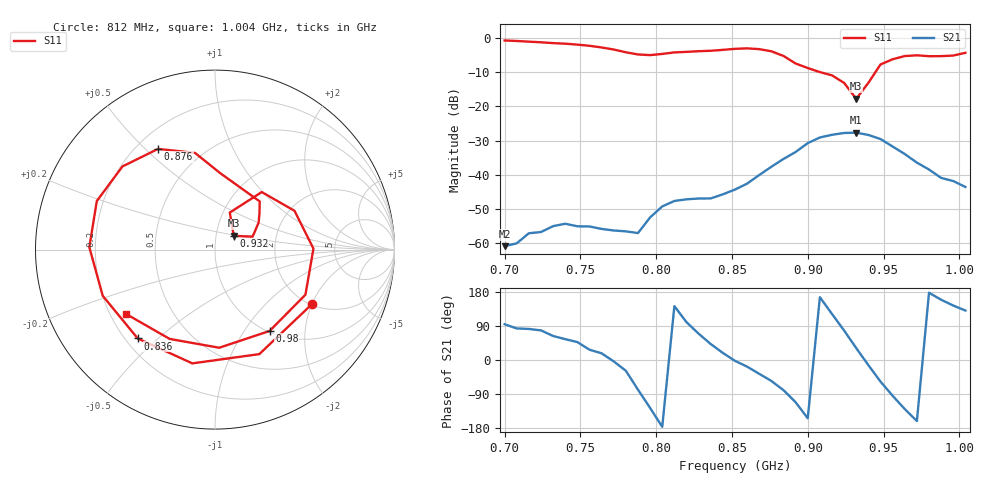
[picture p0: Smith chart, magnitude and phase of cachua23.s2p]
# Hz S RI R 50
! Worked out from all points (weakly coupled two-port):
!   39 points, 700 MHz to 1.004 GHz, reference 50 ohm
!   highest |S21| = -27.68 dB at 932 MHz (marker M1); lowest = -61.0 dB at 700 MHz (marker M2)
!   lowest |S11| = -17.8 dB at 932 MHz (marker M3), VSWR 1.30, Z = 60.8 + j9.49 ohm
!   |S11| at or under -10 dB: 908.7 MHz to 944.6 MHz (35.81 MHz wide, 3.86 % of centre)
!   S12 and S22 are empty: the file has one direction only
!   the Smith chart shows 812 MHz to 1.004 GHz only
!   S11 on the Smith chart (normalised r, x): 812 MHz: 2.04, -2.01; 836 MHz: 0.25, -0.43; 876 MHz: 0.29, +0.55; 932 MHz: 1.22, +0.19; 980 MHz: 1.02, -1.31; 1.004 GHz: 0.26, -0.30
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7e8  0.7672 0.5245  -6.76e-05 0.000891  0 0  0 0
7.24e8  0.8338 -0.2603  0.000296 0.00141  0 0  0 0
7.4e8  0.4454 -0.7042  0.00109 0.00156  0 0  0 0
7.56e8  -0.1976 -0.7509  0.00155 0.000794  0 0  0 0
7.72e8  -0.6578 -0.188  0.00151 -9.87e-05  0 0  0 0
7.8e8  -0.5788 0.232  0.0013 -0.000701  0 0  0 0
7.88e8  -0.2268 0.5328  0.000282 -0.00136  0 0  0 0
7.96e8  0.2606 0.5032  -0.00141 -0.00189  0 0  0 0
8.04e8  0.5712 0.1459  -0.00342 -0.000217  0 0  0 0
8.12e8  0.5415 -0.3026  -0.00325 0.00252  0 0  0 0
8.2e8  0.2471 -0.5823  -0.00074 0.00429  0 0  0 0
8.36e8  -0.4304 -0.4952  0.00333 0.00301  0 0  0 0
8.52e8  -0.7002 0.0135  0.00604 -0.000244  0 0  0 0
8.76e8  -0.3171 0.561  0.00744 -0.0107  0 0  0 0
9e8  0.2491 0.2685  -0.026 -0.0128  0 0  0 0
9.08e8  0.2478 0.2017  -0.034 0.00872  0 0  0 0
9.32e8  0.1043 0.0767  0.0353 0.0215  0 0  0 0
9.48e8  0.2605 0.3207  0.0181 -0.0279  0 0  0 0
9.56e8  0.443 0.2162  -0.00201 -0.0258  0 0  0 0
9.72e8  0.5038 -0.2515  -0.0142 -0.00486  0 0  0 0
9.8e8  0.3041 -0.4533  -0.0119 0.000519  0 0  0 0
1.004e9  -0.4967 -0.3578  -0.00429 0.00502  0 0  0 0
